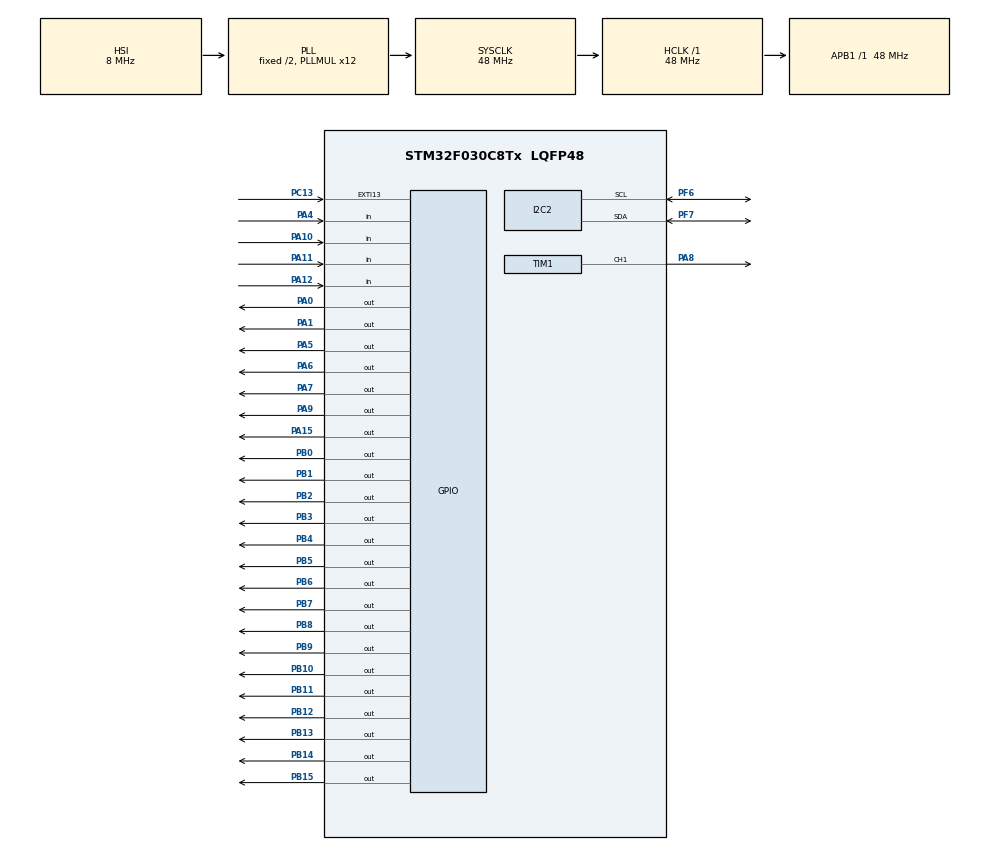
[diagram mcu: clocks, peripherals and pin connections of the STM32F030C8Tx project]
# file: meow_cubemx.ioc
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I2C2.Timing=0x20303E5D
Mcu.Family=STM32F0
Mcu.Name=STM32F030C8Tx
Mcu.Package=LQFP48
NVIC.EXTI4_15_IRQn=true\:0\:0\:false\:false\:true\:true
NVIC.TIM3_IRQn=true\:0\:0\:false\:false\:true\:true
PA0.Signal=GPIO_Output
PA1.Signal=GPIO_Output
PA10.Signal=GPIO_Input
PA11.Signal=GPIO_Input
PA12.Signal=GPIO_Input
PA13.Mode=Serial_Wire
PA13.Signal=SYS_SWDIO
PA14.Mode=Serial_Wire
PA14.Signal=SYS_SWCLK
PA15.Signal=GPIO_Output
PA2.Signal=USART2_TX
PA3.Signal=USART2_RX
PA4.Signal=GPIO_Input
PA5.Signal=GPIO_Output
PA6.Signal=GPIO_Output
PA7.Signal=GPIO_Output
PA8.Signal=S_TIM1_CH1
PA9.Signal=GPIO_Output
PB0.Signal=GPIO_Output
PB1.Signal=GPIO_Output
PB10.Signal=GPIO_Output
PB11.Signal=GPIO_Output
PB12.Signal=GPIO_Output
PB13.Signal=GPIO_Output
PB14.Signal=GPIO_Output
PB15.Signal=GPIO_Output
PB2.Signal=GPIO_Output
PB3.Signal=GPIO_Output
PB4.Signal=GPIO_Output
PB5.Signal=GPIO_Output
PB6.Signal=GPIO_Output
PB7.Signal=GPIO_Output
PB8.Signal=GPIO_Output
PB9.Signal=GPIO_Output
PC13.Signal=GPXTI13
PF6.Mode=I2C
PF6.Signal=I2C2_SCL
PF7.Mode=I2C
PF7.Signal=I2C2_SDA
ProjectManager.HeapSize=0x200
ProjectManager.StackSize=0x400
ProjectManager.TargetToolchain=MDK-ARM V5
RCC.AHBFreq_Value=48000000
RCC.APB1Freq_Value=48000000
RCC.APB1TimFreq_Value=48000000
RCC.HCLKFreq_Value=48000000
RCC.PLLMUL=RCC_PLL_MUL12
RCC.SYSCLKFreq_VALUE=48000000
RCC.SYSCLKSource=RCC_SYSCLKSOURCE_PLLCLK
SH.S_TIM1_CH1.0=TIM1_CH1,PWM Generation1 CH1
TIM1.Channel-PWM\ Generation1\ CH1=TIM_CHANNEL_1
TIM1.Period=200
TIM1.Prescaler=(48000000/(200*50))-1
TIM3.Period=1000-1
TIM3.Prescaler=48000-1
VP_TIM1_VS_ClockSourceINT.Mode=Internal
VP_TIM3_VS_ClockSourceINT.Mode=Internal
board=custom

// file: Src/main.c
/**
  ******************************************************************************
  * @file           : main.c
  * @brief          : Main program body
  ******************************************************************************
  ** This notice applies to any and all portions of this file
  * that are not between comment pairs USER CODE BEGIN and
  * USER CODE END. Other portions of this file, whether
  * inserted by the user or by software development tools
  * are owned by their respective copyright owners.
  *
  * COPYRIGHT(c) 2018 STMicroelectronics
  *
  * Redistribution and use in source and binary forms, with or without modification,
  * are permitted provided that the following conditions are met:
  *   1. Redistributions of source code must retain the above copyright notice,
  *      this list of conditions and the following disclaimer.
  *   2. Redistributions in binary form must reproduce the above copyright notice,
  *      this list of conditions and the following disclaimer in the documentation
  *      and/or other materials provided with the distribution.
  *   3. Neither the name of STMicroelectronics nor the names of its contributors
  *      may be used to endorse or promote products derived from this software
  *      without specific prior written permission.
  *
  * THIS SOFTWARE IS PROVIDED BY THE COPYRIGHT HOLDERS AND CONTRIBUTORS "AS IS"
  * AND ANY EXPRESS OR IMPLIED WARRANTIES, INCLUDING, BUT NOT LIMITED TO, THE
  * IMPLIED WARRANTIES OF MERCHANTABILITY AND FITNESS FOR A PARTICULAR PURPOSE ARE
  * DISCLAIMED. IN NO EVENT SHALL THE COPYRIGHT HOLDER OR CONTRIBUTORS BE LIABLE
  * FOR ANY DIRECT, INDIRECT, INCIDENTAL, SPECIAL, EXEMPLARY, OR CONSEQUENTIAL
  * DAMAGES (INCLUDING, BUT NOT LIMITED TO, PROCUREMENT OF SUBSTITUTE GOODS OR
  * SERVICES; LOSS OF USE, DATA, OR PROFITS; OR BUSINESS INTERRUPTION) HOWEVER
  * CAUSED AND ON ANY THEORY OF LIABILITY, WHETHER IN CONTRACT, STRICT LIABILITY,
  * OR TORT (INCLUDING NEGLIGENCE OR OTHERWISE) ARISING IN ANY WAY OUT OF THE USE
  * OF THIS SOFTWARE, EVEN IF ADVISED OF THE POSSIBILITY OF SUCH DAMAGE.
  *
  ******************************************************************************
  */
#include "main.h"
#include "stm32f0xx_hal.h"

/* USER CODE BEGIN Includes */

#include <math.h>
#include <stdbool.h>
#include <stdlib.h>
#include <stdio.h>

/* USER CODE END Includes */

I2C_HandleTypeDef hi2c2;

TIM_HandleTypeDef htim1;
TIM_HandleTypeDef htim3;

/* USER CODE BEGIN PV */
/* Private variables ---------------------------------------------------------*/

uint8_t servo_position = 10;
int seconds = 0;
bool ledFlag = false;
uint16_t eyesOpen = 0xC699; // outer perimeter on
uint16_t eyesHappy = 0x0CC0; // upper bucket on
uint16_t eyesClosed = 0x0840; // middle horizontal on
uint16_t eyesStars = 0x3966; // all inside bars on

/* USER CODE END PV */

void SystemClock_Config(void);
static void MX_GPIO_Init(void);
static void MX_I2C2_Init(void);
static void MX_TIM1_Init(void);
static void MX_TIM3_Init(void);

void HAL_TIM_MspPostInit(TIM_HandleTypeDef *htim);

/* USER CODE BEGIN PFP */
/* Private function prototypes -----------------------------------------------*/

void neko_led_test(void);
void neko_servo_setDuty(uint8_t);
void neko_waveAnimation(void);
void neko_blinkOnceAnimation(void);
void neko_blinkTwiceAnimation(void);
/* USER CODE END PFP */

int main(void)
{

  /* MCU Configuration----------------------------------------------------------*/

  /* Reset of all peripherals, Initializes the Flash interface and the Systick. */
  HAL_Init();

  /* Configure the system clock */
  SystemClock_Config();

  /* Initialize all configured peripherals */
  MX_GPIO_Init();
  MX_I2C2_Init();
  MX_TIM1_Init();
  MX_TIM3_Init();
  /* USER CODE BEGIN 2 */

	HAL_GPIO_WritePin(GPIOB, GPIO_PIN_0|GPIO_PIN_1|GPIO_PIN_2|GPIO_PIN_10
											|GPIO_PIN_11|GPIO_PIN_12|GPIO_PIN_13|GPIO_PIN_14
											|GPIO_PIN_15|GPIO_PIN_3|GPIO_PIN_4|GPIO_PIN_5
											|GPIO_PIN_6|GPIO_PIN_7|GPIO_PIN_8|GPIO_PIN_9, GPIO_PIN_SET); //turn off all leds
	neko_led_test();
	//neko_waveAnimation();
	HAL_GPIO_WritePin(GPIOB, GPIO_PIN_0|GPIO_PIN_1|GPIO_PIN_2|GPIO_PIN_10
										|GPIO_PIN_11|GPIO_PIN_12|GPIO_PIN_13|GPIO_PIN_14
										|GPIO_PIN_15|GPIO_PIN_3|GPIO_PIN_4|GPIO_PIN_5
										|GPIO_PIN_6|GPIO_PIN_7|GPIO_PIN_8|GPIO_PIN_9, GPIO_PIN_SET); //turn off all leds

	HAL_TIM_PWM_Start(&htim1, TIM_CHANNEL_1);
	neko_waveAnimation();
	TIM_HandleTypeDef    TimHandle;

	// this was the magic to get the timer started + enable the interrupt
	// everything else came from cubemx generated code
	HAL_TIM_Base_Start_IT(&htim3); //start hardware timer 3 in interrupt mode

  /* USER CODE END 2 */

  /* Infinite loop */
  /* USER CODE BEGIN WHILE */
  while (1)
  {
		HAL_GPIO_WritePin(GPIOB, 0xFFFF, GPIO_PIN_SET); // no eyes
		HAL_GPIO_WritePin(GPIOB, eyesOpen, GPIO_PIN_RESET); // open eyes

		if(ledFlag)
		{
			if(seconds % 60 == 0)
			{
				neko_waveAnimation();
			}

			if(seconds % 7 == 0)
			{
				neko_blinkOnceAnimation();
			}

			if(seconds % 11 == 0)
			{
				neko_blinkTwiceAnimation();
			}
			ledFlag = false;
		}

  /* USER CODE END WHILE */

  }

}

void SystemClock_Config(void)
{

  RCC_OscInitTypeDef RCC_OscInitStruct;
  RCC_ClkInitTypeDef RCC_ClkInitStruct;

    /**Initializes the CPU, AHB and APB busses clocks
    */
  RCC_OscInitStruct.OscillatorType = RCC_OSCILLATORTYPE_HSI;
  RCC_OscInitStruct.HSIState = RCC_HSI_ON;
  RCC_OscInitStruct.HSICalibrationValue = 16;
  RCC_OscInitStruct.PLL.PLLState = RCC_PLL_ON;
  RCC_OscInitStruct.PLL.PLLSource = RCC_PLLSOURCE_HSI;
  RCC_OscInitStruct.PLL.PLLMUL = RCC_PLL_MUL12;
  RCC_OscInitStruct.PLL.PREDIV = RCC_PREDIV_DIV1;
  if (HAL_RCC_OscConfig(&RCC_OscInitStruct) != HAL_OK)
  {
    _Error_Handler(__FILE__, __LINE__);
  }

    /**Initializes the CPU, AHB and APB busses clocks
    */
  RCC_ClkInitStruct.ClockType = RCC_CLOCKTYPE_HCLK|RCC_CLOCKTYPE_SYSCLK
                              |RCC_CLOCKTYPE_PCLK1;
  RCC_ClkInitStruct.SYSCLKSource = RCC_SYSCLKSOURCE_PLLCLK;
  RCC_ClkInitStruct.AHBCLKDivider = RCC_SYSCLK_DIV1;
  RCC_ClkInitStruct.APB1CLKDivider = RCC_HCLK_DIV1;

  if (HAL_RCC_ClockConfig(&RCC_ClkInitStruct, FLASH_LATENCY_1) != HAL_OK)
  {
    _Error_Handler(__FILE__, __LINE__);
  }

    /**Configure the Systick interrupt time
    */
  HAL_SYSTICK_Config(HAL_RCC_GetHCLKFreq()/1000);

    /**Configure the Systick
    */
  HAL_SYSTICK_CLKSourceConfig(SYSTICK_CLKSOURCE_HCLK);

  /* SysTick_IRQn interrupt configuration */
  HAL_NVIC_SetPriority(SysTick_IRQn, 0, 0);
}

/* I2C2 init function */
static void MX_I2C2_Init(void)
{

  hi2c2.Instance = I2C2;
  hi2c2.Init.Timing = 0x20303E5D;
  hi2c2.Init.OwnAddress1 = 0;
  hi2c2.Init.AddressingMode = I2C_ADDRESSINGMODE_7BIT;
  hi2c2.Init.DualAddressMode = I2C_DUALADDRESS_DISABLE;
  hi2c2.Init.OwnAddress2 = 0;
  hi2c2.Init.OwnAddress2Masks = I2C_OA2_NOMASK;
  hi2c2.Init.GeneralCallMode = I2C_GENERALCALL_DISABLE;
  hi2c2.Init.NoStretchMode = I2C_NOSTRETCH_DISABLE;
  if (HAL_I2C_Init(&hi2c2) != HAL_OK)
  {
    _Error_Handler(__FILE__, __LINE__);
  }

    /**Configure Analogue filter
    */
  if (HAL_I2CEx_ConfigAnalogFilter(&hi2c2, I2C_ANALOGFILTER_ENABLE) != HAL_OK)
  {
    _Error_Handler(__FILE__, __LINE__);
  }

    /**Configure Digital filter
    */
  if (HAL_I2CEx_ConfigDigitalFilter(&hi2c2, 0) != HAL_OK)
  {
    _Error_Handler(__FILE__, __LINE__);
  }

}

/* TIM1 init function */
static void MX_TIM1_Init(void)
{

  TIM_ClockConfigTypeDef sClockSourceConfig;
  TIM_MasterConfigTypeDef sMasterConfig;
  TIM_OC_InitTypeDef sConfigOC;
  TIM_BreakDeadTimeConfigTypeDef sBreakDeadTimeConfig;

  htim1.Instance = TIM1;
  htim1.Init.Prescaler = (48000000/(200*50))-1;
  htim1.Init.CounterMode = TIM_COUNTERMODE_UP;
  htim1.Init.Period = 200;
  htim1.Init.ClockDivision = TIM_CLOCKDIVISION_DIV1;
  htim1.Init.RepetitionCounter = 0;
  htim1.Init.AutoReloadPreload = TIM_AUTORELOAD_PRELOAD_DISABLE;
  if (HAL_TIM_Base_Init(&htim1) != HAL_OK)
  {
    _Error_Handler(__FILE__, __LINE__);
  }

  sClockSourceConfig.ClockSource = TIM_CLOCKSOURCE_INTERNAL;
  if (HAL_TIM_ConfigClockSource(&htim1, &sClockSourceConfig) != HAL_OK)
  {
    _Error_Handler(__FILE__, __LINE__);
  }

  if (HAL_TIM_PWM_Init(&htim1) != HAL_OK)
  {
    _Error_Handler(__FILE__, __LINE__);
  }

  sMasterConfig.MasterOutputTrigger = TIM_TRGO_RESET;
  sMasterConfig.MasterSlaveMode = TIM_MASTERSLAVEMODE_DISABLE;
  if (HAL_TIMEx_MasterConfigSynchronization(&htim1, &sMasterConfig) != HAL_OK)
  {
    _Error_Handler(__FILE__, __LINE__);
  }

  sConfigOC.OCMode = TIM_OCMODE_PWM1;
  sConfigOC.Pulse = 0;
  sConfigOC.OCPolarity = TIM_OCPOLARITY_HIGH;
  sConfigOC.OCNPolarity = TIM_OCNPOLARITY_HIGH;
  sConfigOC.OCFastMode = TIM_OCFAST_DISABLE;
  sConfigOC.OCIdleState = TIM_OCIDLESTATE_RESET;
  sConfigOC.OCNIdleState = TIM_OCNIDLESTATE_RESET;
  if (HAL_TIM_PWM_ConfigChannel(&htim1, &sConfigOC, TIM_CHANNEL_1) != HAL_OK)
  {
    _Error_Handler(__FILE__, __LINE__);
  }

  sBreakDeadTimeConfig.OffStateRunMode = TIM_OSSR_DISABLE;
  sBreakDeadTimeConfig.OffStateIDLEMode = TIM_OSSI_DISABLE;
  sBreakDeadTimeConfig.LockLevel = TIM_LOCKLEVEL_OFF;
  sBreakDeadTimeConfig.DeadTime = 0;
  sBreakDeadTimeConfig.BreakState = TIM_BREAK_DISABLE;
  sBreakDeadTimeConfig.BreakPolarity = TIM_BREAKPOLARITY_HIGH;
  sBreakDeadTimeConfig.AutomaticOutput = TIM_AUTOMATICOUTPUT_DISABLE;
  if (HAL_TIMEx_ConfigBreakDeadTime(&htim1, &sBreakDeadTimeConfig) != HAL_OK)
  {
    _Error_Handler(__FILE__, __LINE__);
  }

  HAL_TIM_MspPostInit(&htim1);

}

/* TIM3 init function */
static void MX_TIM3_Init(void)
{

  TIM_ClockConfigTypeDef sClockSourceConfig;
  TIM_MasterConfigTypeDef sMasterConfig;

  htim3.Instance = TIM3;
  htim3.Init.Prescaler = 48000-1;
  htim3.Init.CounterMode = TIM_COUNTERMODE_UP;
  htim3.Init.Period = 1000-1;
  htim3.Init.ClockDivision = TIM_CLOCKDIVISION_DIV1;
  htim3.Init.AutoReloadPreload = TIM_AUTORELOAD_PRELOAD_DISABLE;
  if (HAL_TIM_Base_Init(&htim3) != HAL_OK)
  {
    _Error_Handler(__FILE__, __LINE__);
  }

  sClockSourceConfig.ClockSource = TIM_CLOCKSOURCE_INTERNAL;
  if (HAL_TIM_ConfigClockSource(&htim3, &sClockSourceConfig) != HAL_OK)
  {
    _Error_Handler(__FILE__, __LINE__);
  }

  sMasterConfig.MasterOutputTrigger = TIM_TRGO_RESET;
  sMasterConfig.MasterSlaveMode = TIM_MASTERSLAVEMODE_DISABLE;
  if (HAL_TIMEx_MasterConfigSynchronization(&htim3, &sMasterConfig) != HAL_OK)
  {
    _Error_Handler(__FILE__, __LINE__);
  }

}

/** Configure pins as
        * Analog
        * Input
        * Output
        * EVENT_OUT
        * EXTI
     PA2   ------> USART2_TX
     PA3   ------> USART2_RX
*/
static void MX_GPIO_Init(void)
{

  GPIO_InitTypeDef GPIO_InitStruct;

  /* GPIO Ports Clock Enable */
  __HAL_RCC_GPIOC_CLK_ENABLE();
  __HAL_RCC_GPIOA_CLK_ENABLE();
  __HAL_RCC_GPIOB_CLK_ENABLE();
  __HAL_RCC_GPIOF_CLK_ENABLE();

  /*Configure GPIO pin Output Level */
  HAL_GPIO_WritePin(GPIOA, GPIO_PIN_0|GPIO_PIN_1|GPIO_PIN_5|GPIO_PIN_6
                          |GPIO_PIN_7|GPIO_PIN_9|GPIO_PIN_15, GPIO_PIN_RESET);

  /*Configure GPIO pin Output Level */
  HAL_GPIO_WritePin(GPIOB, GPIO_PIN_0|GPIO_PIN_1|GPIO_PIN_2|GPIO_PIN_10
                          |GPIO_PIN_11|GPIO_PIN_12|GPIO_PIN_13|GPIO_PIN_14
                          |GPIO_PIN_15|GPIO_PIN_3|GPIO_PIN_4|GPIO_PIN_5
                          |GPIO_PIN_6|GPIO_PIN_7|GPIO_PIN_8|GPIO_PIN_9, GPIO_PIN_RESET);

  /*Configure GPIO pin : PC13 */
  GPIO_InitStruct.Pin = GPIO_PIN_13;
  GPIO_InitStruct.Mode = GPIO_MODE_IT_RISING;
  GPIO_InitStruct.Pull = GPIO_NOPULL;
  HAL_GPIO_Init(GPIOC, &GPIO_InitStruct);

  /*Configure GPIO pins : PA0 PA1 PA5 PA6
                           PA7 PA9 PA15 */
  GPIO_InitStruct.Pin = GPIO_PIN_0|GPIO_PIN_1|GPIO_PIN_5|GPIO_PIN_6
                          |GPIO_PIN_7|GPIO_PIN_9|GPIO_PIN_15;
  GPIO_InitStruct.Mode = GPIO_MODE_OUTPUT_PP;
  GPIO_InitStruct.Pull = GPIO_NOPULL;
  GPIO_InitStruct.Speed = GPIO_SPEED_FREQ_LOW;
  HAL_GPIO_Init(GPIOA, &GPIO_InitStruct);

  /*Configure GPIO pins : PA2 PA3 */
  GPIO_InitStruct.Pin = GPIO_PIN_2|GPIO_PIN_3;
  GPIO_InitStruct.Mode = GPIO_MODE_AF_PP;
  GPIO_InitStruct.Pull = GPIO_NOPULL;
  GPIO_InitStruct.Speed = GPIO_SPEED_FREQ_HIGH;
  GPIO_InitStruct.Alternate = GPIO_AF1_USART2;
  HAL_GPIO_Init(GPIOA, &GPIO_InitStruct);

  /*Configure GPIO pins : PA4 PA10 PA11 PA12 */
  GPIO_InitStruct.Pin = GPIO_PIN_4|GPIO_PIN_10|GPIO_PIN_11|GPIO_PIN_12;
  GPIO_InitStruct.Mode = GPIO_MODE_INPUT;
  GPIO_InitStruct.Pull = GPIO_NOPULL;
  HAL_GPIO_Init(GPIOA, &GPIO_InitStruct);

  /*Configure GPIO pins : PB0 PB1 PB2 PB10
                           PB11 PB12 PB13 PB14
                           PB15 PB3 PB4 PB5
                           PB6 PB7 PB8 PB9 */
  GPIO_InitStruct.Pin = GPIO_PIN_0|GPIO_PIN_1|GPIO_PIN_2|GPIO_PIN_10
                          |GPIO_PIN_11|GPIO_PIN_12|GPIO_PIN_13|GPIO_PIN_14
                          |GPIO_PIN_15|GPIO_PIN_3|GPIO_PIN_4|GPIO_PIN_5
                          |GPIO_PIN_6|GPIO_PIN_7|GPIO_PIN_8|GPIO_PIN_9;
  GPIO_InitStruct.Mode = GPIO_MODE_OUTPUT_PP;
  GPIO_InitStruct.Pull = GPIO_NOPULL;
  GPIO_InitStruct.Speed = GPIO_SPEED_FREQ_LOW;
  HAL_GPIO_Init(GPIOB, &GPIO_InitStruct);

  /* EXTI interrupt init*/
  HAL_NVIC_SetPriority(EXTI4_15_IRQn, 0, 0);
  HAL_NVIC_EnableIRQ(EXTI4_15_IRQn);

}

/* USER CODE BEGIN 4 */

// i believe this gets called for all timer interrupts and the if statement filters them out
void HAL_TIM_PeriodElapsedCallback(TIM_HandleTypeDef *htim)
{
    if (htim->Instance == htim3.Instance)
    {
			//HAL_GPIO_TogglePin(GPIOA, GPIO_PIN_15);
			seconds++;
			ledFlag = true;
    }
}

void neko_led_test(void)
{

	int delaytime = 50;
	HAL_GPIO_WritePin(GPIOA, GPIO_PIN_6|GPIO_PIN_7, GPIO_PIN_SET); // enable right (a6) and left (a7) eyes

	for(int i=0; i<16; i++) // cycle though all segments on port B
	{
		HAL_GPIO_WritePin(GPIOB, pow(2, i), GPIO_PIN_RESET); // turn on single segment
		HAL_Delay(delaytime); //delay in milliseconds
		//HAL_GPIO_WritePin(GPIOB, pow(2, i), GPIO_PIN_SET); // turn off single segment
	}
	HAL_GPIO_WritePin(GPIOB, GPIO_PIN_15, GPIO_PIN_SET); // turn off last segment

	// test dot segment
	HAL_GPIO_WritePin(GPIOA, GPIO_PIN_15, GPIO_PIN_RESET);
	HAL_Delay(delaytime);
	HAL_GPIO_WritePin(GPIOA, GPIO_PIN_15, GPIO_PIN_SET);

}

void neko_servo_setDuty(uint8_t value)
{
	if ((value >= 10)||(value <= 20))
	{
		__HAL_TIM_SET_COMPARE(&htim1, TIM_CHANNEL_1, value); // target 1 msec
	}
}

void neko_waveAnimation(void)
{
	HAL_GPIO_WritePin(GPIOB, 0xFFFF, GPIO_PIN_SET); // no eyes
	HAL_GPIO_WritePin(GPIOB, eyesStars, GPIO_PIN_RESET);
	for(int i = 0; i<3; i++)
	{
		neko_servo_setDuty(180);
		HAL_Delay(400);
		neko_servo_setDuty(190);
		HAL_Delay(400);
	}
}

void neko_blinkOnceAnimation(void)
{
	HAL_GPIO_WritePin(GPIOB, 0xFFFF, GPIO_PIN_SET);
	HAL_GPIO_WritePin(GPIOB, eyesClosed, GPIO_PIN_RESET);
	HAL_Delay(75);
}

void neko_blinkTwiceAnimation(void)
{
	HAL_GPIO_WritePin(GPIOB, 0xFFFF, GPIO_PIN_SET);
	HAL_GPIO_WritePin(GPIOB, eyesClosed, GPIO_PIN_RESET);
	HAL_Delay(75);
	HAL_GPIO_WritePin(GPIOB, 0xFFFF, GPIO_PIN_SET);
	HAL_GPIO_WritePin(GPIOB, eyesOpen, GPIO_PIN_RESET);
	HAL_Delay(300);
	HAL_GPIO_WritePin(GPIOB, 0xFFFF, GPIO_PIN_SET);
	HAL_GPIO_WritePin(GPIOB, eyesClosed, GPIO_PIN_RESET);
	HAL_Delay(75);
}

/* USER CODE END 4 */

void _Error_Handler(char *file, int line)
{
  while(1)
  {
  }
}

/************************ (C) COPYRIGHT STMicroelectronics *****END OF FILE****/
